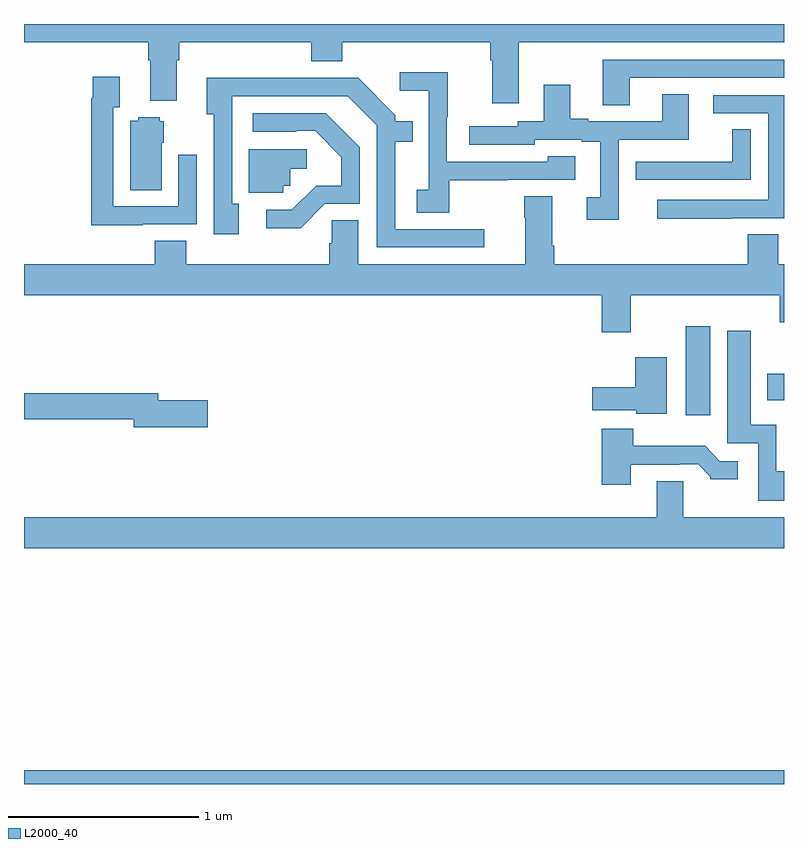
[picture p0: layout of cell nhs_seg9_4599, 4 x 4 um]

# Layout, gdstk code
import gdstk
lib = gdstk.Library(unit=1e-6, precision=1e-09)
def R(c, l, rs):  # rectangles x0, y0, x1, y1
    for r in rs: c.add(gdstk.rectangle(r[:2], r[2:], *l))
def P(c, l, *ps):  # polygons
    for p in ps: c.add(gdstk.Polygon(p, *l))
L2000_40 = (2000, 40)

nhs_seg9_4599 = lib.new_cell('nhs_seg9_4599')
R(nhs_seg9_4599, L2000_40, [(375,1208.5,379,1208.572), (378.482,1210.44,378.613,1210.909), (378.911,1210.52,379,1210.66)])
P(nhs_seg9_4599, L2000_40, [(377.605,1212.404),(379,1212.404),(379,1212.5),(375,1212.5),(375,1212.404),(375.653,1212.404),(375.653,1212.308),(375.665,1212.308),(375.665,1212.095),(375.805,1212.095),(375.805,1212.308),(375.818,1212.308),(375.818,1212.404),(376.511,1212.404),(376.511,1212.305),(376.676,1212.305),(376.676,1212.404),(377.453,1212.404),(377.453,1212.308),(377.465,1212.308),(377.465,1212.084),(377.605,1212.084)],
  [(378.187,1212.216),(379,1212.216),(379,1212.312),(378.047,1212.312),(378.047,1212.073),(378.187,1212.073)],
  [(377.239,1211.677),(377.543,1211.677),(377.543,1211.679),(377.902,1211.679),(377.902,1211.803),(377.757,1211.803),(377.757,1211.775),(377.226,1211.775),(377.226,1212.008),(377.229,1212.008),(377.229,1212.247),(376.977,1212.247),(376.977,1212.149),(377.13,1212.149),(377.13,1211.628),(377.067,1211.628),(377.067,1211.506),(377.239,1211.506)],
  [(375.625,1211.445),(375.909,1211.445),(375.909,1211.812),(375.813,1211.812),(375.813,1211.541),(375.471,1211.541),(375.471,1212.062),(375.505,1212.062),(375.505,1212.223),(375.363,1212.223),(375.363,1212.11),(375.355,1212.11),(375.355,1211.441),(375.625,1211.441)],
  [(377.422,1211.421),(376.954,1211.421),(376.954,1211.88),(377.045,1211.88),(377.045,1211.989),(376.953,1211.989),(376.953,1212.021),(376.758,1212.216),(376.427,1212.216),(376.427,1212.218),(375.962,1212.218),(375.962,1212.026),(375.999,1212.026),(375.999,1211.394),(376.129,1211.394),(376.129,1211.554),(376.095,1211.554),(376.095,1212.12),(376.704,1212.12),(376.857,1211.967),(376.857,1211.325),(377.422,1211.325)],
  [(378.129,1211.892),(378.499,1211.892),(378.499,1212.131),(378.359,1212.131),(378.359,1211.988),(377.971,1211.988),(377.971,1212.001),(377.875,1212.001),(377.875,1212.181),(377.735,1212.181),(377.735,1211.988),(377.598,1211.988),(377.598,1211.961),(377.343,1211.961),(377.343,1211.865),(377.688,1211.865),(377.688,1211.892),(377.936,1211.892),(377.936,1211.88),(378.032,1211.88),(378.032,1211.589),(377.961,1211.589),(377.961,1211.469),(378.129,1211.469)],
  [(378.725,1211.478),(379,1211.478),(379,1212.126),(378.627,1212.126),(378.627,1212.03),(378.918,1212.03),(378.918,1211.574),(378.333,1211.574),(378.333,1211.476),(378.725,1211.476)],
  [(376.584,1211.553),(376.767,1211.553),(376.767,1211.851),(376.588,1212.03),(376.203,1212.03),(376.203,1211.934),(376.433,1211.934),(376.433,1211.937),(376.533,1211.937),(376.67,1211.8),(376.67,1211.65),(376.537,1211.65),(376.41,1211.523),(376.275,1211.523),(376.275,1211.426),(376.456,1211.426)],
  [(375.724,1211.874),(375.736,1211.874),(375.736,1211.988),(375.714,1211.988),(375.714,1212.01),(375.6,1212.01),(375.6,1211.992),(375.56,1211.992),(375.56,1211.626),(375.724,1211.626)],
  [(378.825,1211.945),(378.727,1211.945),(378.727,1211.775),(378.331,1211.775),(378.331,1211.774),(378.219,1211.774),(378.219,1211.679),(378.825,1211.679)],
  [(376.365,1211.649),(376.401,1211.649),(376.401,1211.738),(376.489,1211.738),(376.489,1211.841),(376.184,1211.841),(376.184,1211.613),(376.365,1211.613)],
  [(378.193,1211.072),(378.977,1211.072),(378.977,1210.931),(379,1210.931),(379,1211.236),(378.969,1211.236),(378.969,1211.393),(378.809,1211.393),(378.809,1211.236),(377.792,1211.236),(377.792,1211.332),(377.779,1211.332),(377.779,1211.593),(377.632,1211.593),(377.632,1211.48),(377.639,1211.48),(377.639,1211.236),(376.759,1211.236),(376.759,1211.468),(376.621,1211.468),(376.621,1211.346),(376.607,1211.346),(376.607,1211.236),(375.854,1211.236),(375.854,1211.36),(375.689,1211.36),(375.689,1211.236),(375,1211.236),(375,1211.072),(378.041,1211.072),(378.041,1210.878),(378.193,1210.878)],
  [(379,1210.146),(378.96,1210.146),(378.96,1210.39),(378.826,1210.39),(378.826,1210.885),(378.701,1210.885),(378.701,1210.293),(378.864,1210.293),(378.864,1209.99),(379,1209.99)],
  [(378.382,1210.747),(378.218,1210.747),(378.218,1210.588),(377.991,1210.588),(377.991,1210.466),(378.222,1210.466),(378.222,1210.448),(378.382,1210.448)],
  [(375.967,1210.52),(375.706,1210.52),(375.706,1210.556),(375,1210.556),(375,1210.42),(375.578,1210.42),(375.578,1210.378),(375.967,1210.378)],
  [(378.193,1210.179),(378.449,1210.179),(378.449,1210.182),(378.548,1210.182),(378.612,1210.118),(378.612,1210.103),(378.757,1210.103),(378.757,1210.2),(378.663,1210.2),(378.585,1210.279),(378.206,1210.279),(378.206,1210.369),(378.041,1210.369),(378.041,1210.074),(378.193,1210.074)],
  [(379,1209.904),(378.469,1209.904),(378.469,1210.094),(378.329,1210.094),(378.329,1209.904),(375,1209.904),(375,1209.74),(379,1209.74)])

lib.write_gds('nhs_seg9_4599.gds')
